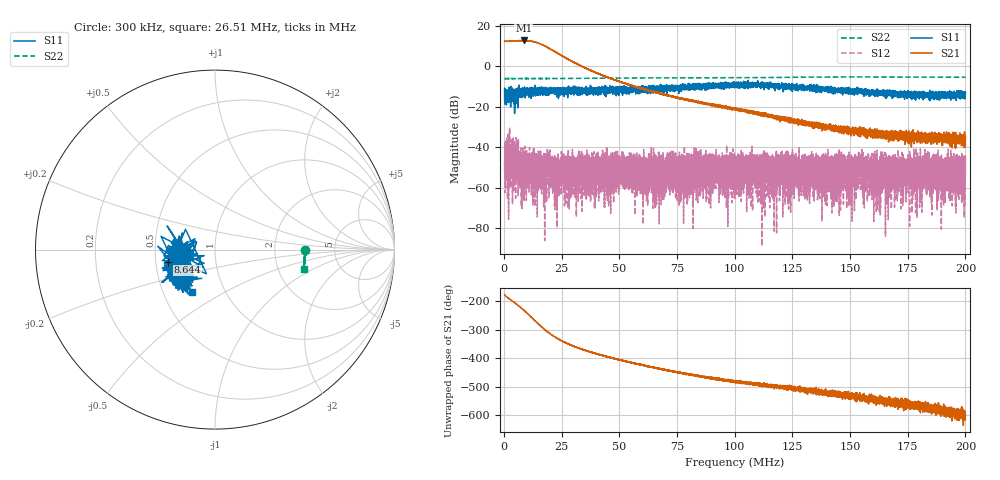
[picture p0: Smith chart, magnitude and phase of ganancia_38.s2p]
# Hz S DB R 50
! CMT, M5065, 19127446, 24.2.4/2
! Date: 11/8/2024 3:10:18 PM
! Data: Format (Calibration Info)
! Freq	S11:dB/Ang(F2)	S21:dB/Ang(F2)	S12:dB/Ang(F2)	S22:dB/Ang(F2)
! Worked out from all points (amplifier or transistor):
!   9000 points, 300 kHz to 200 MHz, reference 50 ohm
!   highest |S21| = 12.9 dB at 8.555 MHz (marker M1)
!   |S21| within 3 dB of that: start of sweep to 18.17 MHz
!   unconditionally stable (mu >= 1): start of sweep to end of sweep
!   at 33.59 MHz: K = 235.88, MAG = 1.9 dB, |S12| = -57.0 dB
!   at 100.2 MHz: K = 1789.84, MAG = -18.8 dB, |S12| = -54.4 dB
!   at 200 MHz: K = 3118.14, MAG = -33.4 dB, |S12| = -44.2 dB
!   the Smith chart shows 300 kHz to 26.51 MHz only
!   S11 on the Smith chart (normalised r, x): 300 kHz: 0.75, -0.05; 8.644 MHz: 0.58, -0.08; 26.51 MHz: 0.70, -0.36
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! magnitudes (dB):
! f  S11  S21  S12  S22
! 300 kHz  -16.7  12.5  -47.4  -6.0
! 3.052 MHz  -11.1  12.5  -45.2  -6.0
! 8.555 MHz  -11.7  12.9  -52.1  -6.0
! 8.644 MHz  -11.3  12.8  -52.4  -6.0
! 14.28 MHz  -12.1  11.8  -47.0  -6.0
! 26.51 MHz  -11.4  4.5  -46.1  -5.9
! 33.59 MHz  -11.2  0.2  -57.0  -5.9
! 51.25 MHz  -11.2  -8.0  -50.4  -5.7
! 66.87 MHz  -11.8  -13.1  -62.0  -5.7
! 100.2 MHz  -8.4  -20.9  -54.4  -5.6
! 133.4 MHz  -9.5  -27.9  -48.1  -5.3
! 142.4 MHz  -11.3  -30.9  -44.9  -5.2
! 145.5 MHz  -11.1  -29.8  -58.7  -5.2
! 149.2 MHz  -12.8  -33.0  -57.7  -5.2
! 154.7 MHz  -13.1  -31.0  -44.1  -5.2
! 162.9 MHz  -13.2  -31.8  -51.2  -5.2
! 164.3 MHz  -13.7  -33.2  -53.3  -5.2
! 166.7 MHz  -14.1  -34.6  -58.7  -5.2
! 183.1 MHz  -14.8  -34.4  -63.2  -5.3
! 188.6 MHz  -13.7  -37.6  -47.4  -5.3
! 198.9 MHz  -13.3  -33.9  -47.2  -5.4
! 200 MHz  -13.6  -35.1  -44.2  -5.3
